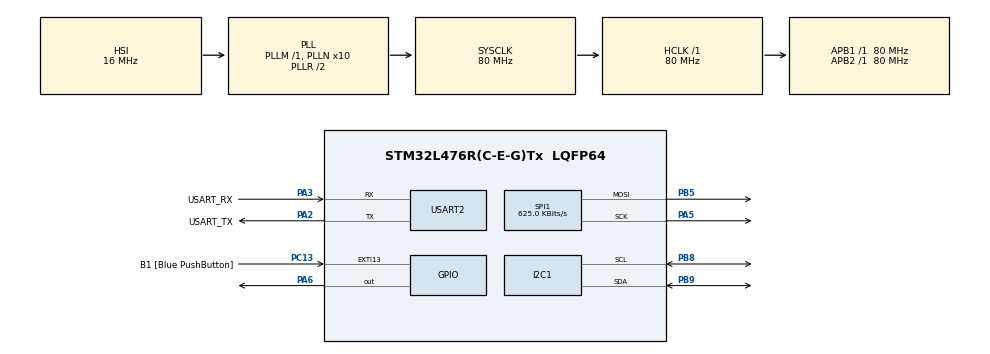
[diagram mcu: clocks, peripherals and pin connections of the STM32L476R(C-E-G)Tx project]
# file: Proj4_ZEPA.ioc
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I2C1.Timing=0x10D19CE4
Mcu.Family=STM32L4
Mcu.Name=STM32L476R(C-E-G)Tx
Mcu.Package=LQFP64
NVIC.I2C1_ER_IRQn=true\:0\:0\:false\:false\:true\:true\:true\:true
NVIC.I2C1_EV_IRQn=true\:0\:0\:false\:false\:true\:true\:true\:true
NVIC.PriorityGroup=NVIC_PRIORITYGROUP_4
NVIC.SPI1_IRQn=true\:0\:0\:false\:false\:true\:true\:true\:true
NVIC.USART2_IRQn=true\:0\:0\:false\:false\:true\:true\:true\:true
PA13\ (JTMS-SWDIO).GPIO_Label=TMS
PA13\ (JTMS-SWDIO).Signal=SYS_JTMS-SWDIO
PA14\ (JTCK-SWCLK).GPIO_Label=TCK
PA14\ (JTCK-SWCLK).Signal=SYS_JTCK-SWCLK
PA2.GPIO_Label=USART_TX
PA2.GPIO_Mode=GPIO_MODE_AF_PP
PA2.GPIO_PuPd=GPIO_NOPULL
PA2.GPIO_Speed=GPIO_SPEED_FREQ_VERY_HIGH
PA2.Mode=Asynchronous
PA2.Signal=USART2_TX
PA3.GPIO_Label=USART_RX
PA3.GPIO_Mode=GPIO_MODE_AF_PP
PA3.GPIO_PuPd=GPIO_NOPULL
PA3.GPIO_Speed=GPIO_SPEED_FREQ_VERY_HIGH
PA3.Mode=Asynchronous
PA3.Signal=USART2_RX
PA5.Mode=TX_Only_Simplex_Unidirect_Master
PA5.Signal=SPI1_SCK
PA6.PinState=GPIO_PIN_SET
PA6.Signal=GPIO_Output
PB3\ (JTDO-TRACESWO).GPIO_Label=SWO
PB3\ (JTDO-TRACESWO).Signal=SYS_JTDO-SWO
PB5.Mode=TX_Only_Simplex_Unidirect_Master
PB5.Signal=SPI1_MOSI
PB8.Mode=I2C
PB8.Signal=I2C1_SCL
PB9.Mode=I2C
PB9.Signal=I2C1_SDA
PC13.GPIO_Label=B1 [Blue PushButton]
PC13.GPIO_ModeDefaultEXTI=GPIO_MODE_IT_FALLING
PC13.GPIO_PuPd=GPIO_NOPULL
PC13.Signal=GPXTI13
PC14-OSC32_IN\ (PC14).Signal=RCC_OSC32_IN
PC15-OSC32_OUT\ (PC15).Signal=RCC_OSC32_OUT
PH0-OSC_IN\ (PH0).Signal=RCC_OSC_IN
PH1-OSC_OUT\ (PH1).Signal=RCC_OSC_OUT
ProjectManager.HeapSize=0x200
ProjectManager.StackSize=0x400
ProjectManager.TargetToolchain=STM32CubeIDE
RCC.ADCFreq_Value=64000000
RCC.AHBFreq_Value=80000000
RCC.APB1Freq_Value=80000000
RCC.APB1TimFreq_Value=80000000
RCC.APB2Freq_Value=80000000
RCC.APB2TimFreq_Value=80000000
RCC.CortexFreq_Value=80000000
RCC.HCLKFreq_Value=80000000
RCC.HSE_VALUE=8000000
RCC.HSI_VALUE=16000000
RCC.LSE_VALUE=32768
RCC.MSI_VALUE=4000000
RCC.PLLN=10
RCC.PLLSourceVirtual=RCC_PLLSOURCE_HSI
RCC.PREFETCH_ENABLE=1
RCC.SYSCLKFreq_VALUE=80000000
RCC.SYSCLKSource=RCC_SYSCLKSOURCE_PLLCLK
RCC.USBFreq_Value=64000000
RCC.VCOOutputFreq_Value=160000000
SPI1.BaudRatePrescaler=SPI_BAUDRATEPRESCALER_128
SPI1.CalculateBaudRate=625.0 KBits/s
SPI1.DataSize=SPI_DATASIZE_8BIT
SPI1.Direction=SPI_DIRECTION_2LINES
SPI1.Mode=SPI_MODE_MASTER
SPI1.VirtualType=VM_MASTER
USART2.VirtualMode-Asynchronous=VM_ASYNC
board=NUCLEO-L476RG

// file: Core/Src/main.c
/* USER CODE BEGIN Header */
/**
  ******************************************************************************
  * @file           : main.c
  * @brief          : Main program body
  ******************************************************************************
  * @attention
  *
  * Copyright (c) 2026 STMicroelectronics.
  * All rights reserved.
  *
  * This software is licensed under terms that can be found in the LICENSE file
  * in the root directory of this software component.
  * If no LICENSE file comes with this software, it is provided AS-IS.
  *
  ******************************************************************************
  */
/* USER CODE END Header */
#include "main.h"

/* USER CODE BEGIN Includes */
#include <stdio.h>
#include <stdlib.h>
#include <string.h>
/* USER CODE END Includes */

/* USER CODE BEGIN PD */
#define PCF8591_ADDR (0x48U << 1)
#define UART_LINE_MAX 32U
#define SPI_FRAME_MAX 13U
/* USER CODE END PD */

I2C_HandleTypeDef hi2c1;

SPI_HandleTypeDef hspi1;

UART_HandleTypeDef huart2;

/* USER CODE BEGIN PV */
static uint8_t uart_rx_byte;
static char uart_line[UART_LINE_MAX];
static uint8_t uart_line_len;
static volatile uint8_t uart_line_ready;

typedef enum { I2C_IDLE, I2C_READ_CONTROL, I2C_READ_DATA, I2C_WRITE_DAC } I2C_Operation;
static volatile I2C_Operation i2c_operation = I2C_IDLE;
static uint8_t i2c_tx[2];
static uint8_t i2c_rx[2];
static uint8_t i2c_channel;
static uint8_t dac_value;
static uint8_t dac_enabled;
static volatile uint8_t adc_ready;
static volatile uint8_t adc_value;
static volatile uint8_t adc_channel;
static volatile uint8_t dac_ready;
static volatile uint8_t i2c_error;

static uint8_t spi_frames[SPI_FRAME_MAX][2];
static uint8_t spi_count;
static uint8_t spi_pos;
static volatile uint8_t spi_active;
static volatile uint8_t spi_error;
static char wanted_glyph;
static char sent_glyph;
static char sensor_glyph;
static char sign_glyph;
static uint8_t show_sign;
static uint32_t next_switch_ms;
/* USER CODE END PV */

void SystemClock_Config(void);
static void MX_GPIO_Init(void);
static void MX_I2C1_Init(void);
static void MX_SPI1_Init(void);
static void MX_USART2_UART_Init(void);
/* USER CODE BEGIN PFP */
static void App_Task(void);
static void App_Reply(const char *text);
static void App_ProcessCommand(const char *command);
static void App_StartRead(uint8_t channel);
static void App_StartDAC(uint8_t value);
static void Matrix_Init(void);
static void Matrix_Request(char glyph);
static void Matrix_Kick(void);
static void SPI_StartSequence(void);
static void SPI_StartFrame(void);
/* USER CODE END PFP */

/* USER CODE BEGIN 0 */
/* Padroes de 8 linhas. O bit 7 e o LED mais a esquerda. */
static const uint8_t glyph_T[8]     = {0x7E,0x18,0x18,0x18,0x18,0x18,0x18,0x00};
static const uint8_t glyph_V[8]     = {0x66,0x66,0x66,0x66,0x66,0x3C,0x18,0x00};
static const uint8_t glyph_L[8]     = {0x60,0x60,0x60,0x60,0x60,0x60,0x7E,0x00};
static const uint8_t glyph_plus[8]  = {0x00,0x18,0x18,0x7E,0x18,0x18,0x00,0x00};
static const uint8_t glyph_minus[8] = {0x00,0x00,0x00,0x7E,0x00,0x00,0x00,0x00};

static const uint8_t *Matrix_Pattern(char glyph)
{
  switch (glyph) {
    case 'T': return glyph_T;
    case 'V': return glyph_V;
    case 'L': return glyph_L;
    case '+': return glyph_plus;
    case '-': return glyph_minus;
    default:  return NULL;
  }
}

static void App_Reply(const char *text)
{
  HAL_UART_Transmit(&huart2, (uint8_t *)text, (uint16_t)strlen(text), 100);
}

static void SPI_StartFrame(void)
{
  HAL_GPIO_WritePin(GPIOA, GPIO_PIN_6, GPIO_PIN_RESET);
  if (HAL_SPI_Transmit_IT(&hspi1, spi_frames[spi_pos], 2) != HAL_OK) {
    HAL_GPIO_WritePin(GPIOA, GPIO_PIN_6, GPIO_PIN_SET);
    spi_active = 0;
    spi_error = 1;
  }
}

static void SPI_StartSequence(void)
{
  spi_pos = 0;
  spi_active = 1;
  SPI_StartFrame();
}

static void Matrix_Init(void)
{
  spi_count = 0;
  spi_frames[spi_count][0] = 0x0F; spi_frames[spi_count++][1] = 0x00; /* teste off */
  spi_frames[spi_count][0] = 0x09; spi_frames[spi_count++][1] = 0x00; /* sem decode */
  spi_frames[spi_count][0] = 0x0B; spi_frames[spi_count++][1] = 0x07; /* 8 linhas */
  spi_frames[spi_count][0] = 0x0A; spi_frames[spi_count++][1] = 0x08; /* brilho */
  for (uint8_t row = 0; row < 8; row++) {
    spi_frames[spi_count][0] = (uint8_t)(row + 1U);
    spi_frames[spi_count++][1] = 0x00;
  }
  spi_frames[spi_count][0] = 0x0C; spi_frames[spi_count++][1] = 0x01; /* liga */
  SPI_StartSequence();
}

static void Matrix_Request(char glyph)
{
  wanted_glyph = glyph;
}

static void Matrix_Kick(void)
{
  if (spi_active || wanted_glyph == 0 || wanted_glyph == sent_glyph) return;
  const uint8_t *pattern = Matrix_Pattern(wanted_glyph);
  if (pattern == NULL) return;

  spi_count = 8;
  for (uint8_t row = 0; row < 8; row++) {
    spi_frames[row][0] = (uint8_t)(row + 1U);
    spi_frames[row][1] = pattern[row];
  }
  SPI_StartSequence();
  if (spi_active) sent_glyph = wanted_glyph;
}

static void App_StartRead(uint8_t channel)
{
  if (i2c_operation != I2C_IDLE) {
    App_Reply("I2C ocupado\r\n");
    return;
  }
  i2c_channel = channel;
  /* Mantem o DAC ativo se Set_DAC ja foi usado. */
  i2c_tx[0] = (uint8_t)((dac_enabled ? 0x40U : 0x00U) | channel);
  i2c_operation = I2C_READ_CONTROL;
  if (HAL_I2C_Master_Transmit_IT(&hi2c1, PCF8591_ADDR, i2c_tx, 1) != HAL_OK) {
    i2c_operation = I2C_IDLE;
    App_Reply("Falha ao iniciar leitura I2C\r\n");
  }
}

static void App_StartDAC(uint8_t value)
{
  if (i2c_operation != I2C_IDLE) {
    App_Reply("I2C ocupado\r\n");
    return;
  }
  dac_value = value;
  i2c_tx[0] = 0x40; /* habilita saida analogica */
  i2c_tx[1] = value;
  i2c_operation = I2C_WRITE_DAC;
  if (HAL_I2C_Master_Transmit_IT(&hi2c1, PCF8591_ADDR, i2c_tx, 2) != HAL_OK) {
    i2c_operation = I2C_IDLE;
    App_Reply("Falha ao iniciar escrita I2C\r\n");
  }
}

static void App_ProcessCommand(const char *command)
{
  if (strcmp(command, "Read_AIN0") == 0 || strcmp(command, "LDR") == 0) {
    App_StartRead(0);
  } else if (strcmp(command, "Read_AIN1") == 0 || strcmp(command, "Temp") == 0) {
    App_StartRead(1);
  } else if (strcmp(command, "Read_AIN3") == 0 || strcmp(command, "Volt") == 0) {
    App_StartRead(3);
  } else if (strncmp(command, "Set_DAC_", 8) == 0) {
    char *end;
    long value = strtol(command + 8, &end, 10);
    if (end == command + 8 || *end != '\0' || value < 0 || value > 255) {
      App_Reply("Use Set_DAC_0 a Set_DAC_255\r\n");
    } else {
      App_StartDAC((uint8_t)value);
    }
  } else {
    App_Reply("Comandos: LDR, Temp, Volt, Read_AIN0/1/3, Set_DAC_0..255\r\n");
  }
}

static void App_Task(void)
{
  char command[UART_LINE_MAX];
  if (uart_line_ready) {
    __disable_irq();
    strcpy(command, uart_line);
    uart_line_len = 0;
    uart_line_ready = 0;
    __enable_irq();
    App_ProcessCommand(command);
  }

  if (adc_ready) {
    uint8_t channel, value;
    __disable_irq();
    channel = adc_channel;
    value = adc_value;
    adc_ready = 0;
    __enable_irq();

    sensor_glyph = (channel == 0) ? 'L' : (channel == 1) ? 'T' : 'V';
    sign_glyph = (value < 128U) ? '-' : '+';
    show_sign = 0;
    next_switch_ms = HAL_GetTick() + 500U;
    Matrix_Request(sensor_glyph);

    char response[48];
    snprintf(response, sizeof(response), "AIN%u = %u / 255\r\n",
             (unsigned)channel, (unsigned)value);
    App_Reply(response);
  }

  if (dac_ready) {
    dac_ready = 0;
    char response[48];
    snprintf(response, sizeof(response), "DAC = %u / 255\r\n",
             (unsigned)dac_value);
    App_Reply(response);
  }
  if (i2c_error) {
    i2c_error = 0;
    App_Reply("Erro I2C: confira endereco, SDA, SCL e GND\r\n");
  }
  if (spi_error) {
    spi_error = 0;
    App_Reply("Erro SPI\r\n");
  }

  if (sensor_glyph != 0 &&
      (int32_t)(HAL_GetTick() - next_switch_ms) >= 0) {
    next_switch_ms += 500U;
    show_sign ^= 1U;
    Matrix_Request(show_sign ? sign_glyph : sensor_glyph);
  }
  Matrix_Kick();
}

void HAL_UART_RxCpltCallback(UART_HandleTypeDef *huart)
{
  if (huart->Instance != USART2) return;
  if (!uart_line_ready) {
    if (uart_rx_byte == '\r' || uart_rx_byte == '\n') {
      if (uart_line_len > 0) {
        uart_line[uart_line_len] = '\0';
        uart_line_ready = 1;
      }
    } else if (uart_line_len < UART_LINE_MAX - 1U) {
      uart_line[uart_line_len++] = (char)uart_rx_byte;
    } else {
      uart_line_len = 0; /* descarta linha longa */
    }
  }
  HAL_UART_Receive_IT(&huart2, &uart_rx_byte, 1);
}

void HAL_UART_ErrorCallback(UART_HandleTypeDef *huart)
{
  if (huart->Instance == USART2) {
    HAL_UART_Receive_IT(&huart2, &uart_rx_byte, 1);
  }
}

void HAL_I2C_MasterTxCpltCallback(I2C_HandleTypeDef *hi2c)
{
  if (hi2c->Instance != I2C1) return;
  if (i2c_operation == I2C_READ_CONTROL) {
    i2c_operation = I2C_READ_DATA;
    /* O primeiro byte e da conversao anterior; o segundo e o atual. */
    if (HAL_I2C_Master_Receive_IT(&hi2c1, PCF8591_ADDR, i2c_rx, 2) != HAL_OK) {
      i2c_operation = I2C_IDLE;
      i2c_error = 1;
    }
  } else if (i2c_operation == I2C_WRITE_DAC) {
    dac_enabled = 1;
    i2c_operation = I2C_IDLE;
    dac_ready = 1;
  }
}

void HAL_I2C_MasterRxCpltCallback(I2C_HandleTypeDef *hi2c)
{
  if (hi2c->Instance != I2C1 || i2c_operation != I2C_READ_DATA) return;
  adc_channel = i2c_channel;
  adc_value = i2c_rx[1];
  i2c_operation = I2C_IDLE;
  adc_ready = 1;
}

void HAL_I2C_ErrorCallback(I2C_HandleTypeDef *hi2c)
{
  if (hi2c->Instance == I2C1) {
    i2c_operation = I2C_IDLE;
    i2c_error = 1;
  }
}

void HAL_SPI_TxCpltCallback(SPI_HandleTypeDef *hspi)
{
  if (hspi->Instance != SPI1) return;
  HAL_GPIO_WritePin(GPIOA, GPIO_PIN_6, GPIO_PIN_SET);
  spi_pos++;
  if (spi_pos < spi_count) {
    SPI_StartFrame();
  } else {
    spi_active = 0;
  }
}

void HAL_SPI_ErrorCallback(SPI_HandleTypeDef *hspi)
{
  if (hspi->Instance == SPI1) {
    HAL_GPIO_WritePin(GPIOA, GPIO_PIN_6, GPIO_PIN_SET);
    spi_active = 0;
    spi_error = 1;
  }
}
/* USER CODE END 0 */

int main(void)
{

  /* MCU Configuration--------------------------------------------------------*/

  /* Reset of all peripherals, Initializes the Flash interface and the Systick. */
  HAL_Init();

  /* Configure the system clock */
  SystemClock_Config();

  /* Initialize all configured peripherals */
  MX_GPIO_Init();
  MX_I2C1_Init();
  MX_SPI1_Init();
  MX_USART2_UART_Init();
  /* USER CODE BEGIN 2 */
/* Inicia recepcao do terminal e configura a matriz por SPI com interrupcao. */
if (HAL_UART_Receive_IT(&huart2, &uart_rx_byte, 1) != HAL_OK) Error_Handler();
HAL_GPIO_WritePin(GPIOA, GPIO_PIN_6, GPIO_PIN_SET);
Matrix_Init();
App_Reply("Pronto: LDR, Temp, Volt, Read_AIN0/1/3, Set_DAC_0..255\r\n");
/* USER CODE END 2 */

  /* Infinite loop */
  while (1)
  {

    /* USER CODE BEGIN 3 */
    App_Task();
  }
  /* USER CODE END 3 */
}

void SystemClock_Config(void)
{
  RCC_OscInitTypeDef RCC_OscInitStruct = {0};
  RCC_ClkInitTypeDef RCC_ClkInitStruct = {0};

  /** Configure the main internal regulator output voltage
  */
  if (HAL_PWREx_ControlVoltageScaling(PWR_REGULATOR_VOLTAGE_SCALE1) != HAL_OK)
  {
    Error_Handler();
  }

  /** Initializes the RCC Oscillators according to the specified parameters
  * in the RCC_OscInitTypeDef structure.
  */
  RCC_OscInitStruct.OscillatorType = RCC_OSCILLATORTYPE_HSI;
  RCC_OscInitStruct.HSIState = RCC_HSI_ON;
  RCC_OscInitStruct.HSICalibrationValue = RCC_HSICALIBRATION_DEFAULT;
  RCC_OscInitStruct.PLL.PLLState = RCC_PLL_ON;
  RCC_OscInitStruct.PLL.PLLSource = RCC_PLLSOURCE_HSI;
  RCC_OscInitStruct.PLL.PLLM = 1;
  RCC_OscInitStruct.PLL.PLLN = 10;
  RCC_OscInitStruct.PLL.PLLP = RCC_PLLP_DIV7;
  RCC_OscInitStruct.PLL.PLLQ = RCC_PLLQ_DIV2;
  RCC_OscInitStruct.PLL.PLLR = RCC_PLLR_DIV2;
  if (HAL_RCC_OscConfig(&RCC_OscInitStruct) != HAL_OK)
  {
    Error_Handler();
  }

  /** Initializes the CPU, AHB and APB buses clocks
  */
  RCC_ClkInitStruct.ClockType = RCC_CLOCKTYPE_HCLK|RCC_CLOCKTYPE_SYSCLK
                              |RCC_CLOCKTYPE_PCLK1|RCC_CLOCKTYPE_PCLK2;
  RCC_ClkInitStruct.SYSCLKSource = RCC_SYSCLKSOURCE_PLLCLK;
  RCC_ClkInitStruct.AHBCLKDivider = RCC_SYSCLK_DIV1;
  RCC_ClkInitStruct.APB1CLKDivider = RCC_HCLK_DIV1;
  RCC_ClkInitStruct.APB2CLKDivider = RCC_HCLK_DIV1;

  if (HAL_RCC_ClockConfig(&RCC_ClkInitStruct, FLASH_LATENCY_4) != HAL_OK)
  {
    Error_Handler();
  }
}

static void MX_I2C1_Init(void)
{

  hi2c1.Instance = I2C1;
  hi2c1.Init.Timing = 0x10D19CE4;
  hi2c1.Init.OwnAddress1 = 0;
  hi2c1.Init.AddressingMode = I2C_ADDRESSINGMODE_7BIT;
  hi2c1.Init.DualAddressMode = I2C_DUALADDRESS_DISABLE;
  hi2c1.Init.OwnAddress2 = 0;
  hi2c1.Init.OwnAddress2Masks = I2C_OA2_NOMASK;
  hi2c1.Init.GeneralCallMode = I2C_GENERALCALL_DISABLE;
  hi2c1.Init.NoStretchMode = I2C_NOSTRETCH_DISABLE;
  if (HAL_I2C_Init(&hi2c1) != HAL_OK)
  {
    Error_Handler();
  }

  /** Configure Analogue filter
  */
  if (HAL_I2CEx_ConfigAnalogFilter(&hi2c1, I2C_ANALOGFILTER_ENABLE) != HAL_OK)
  {
    Error_Handler();
  }

  /** Configure Digital filter
  */
  if (HAL_I2CEx_ConfigDigitalFilter(&hi2c1, 0) != HAL_OK)
  {
    Error_Handler();
  }

}

static void MX_SPI1_Init(void)
{

  /* SPI1 parameter configuration*/
  hspi1.Instance = SPI1;
  hspi1.Init.Mode = SPI_MODE_MASTER;
  hspi1.Init.Direction = SPI_DIRECTION_2LINES;
  hspi1.Init.DataSize = SPI_DATASIZE_8BIT;
  hspi1.Init.CLKPolarity = SPI_POLARITY_LOW;
  hspi1.Init.CLKPhase = SPI_PHASE_1EDGE;
  hspi1.Init.NSS = SPI_NSS_SOFT;
  hspi1.Init.BaudRatePrescaler = SPI_BAUDRATEPRESCALER_128;
  hspi1.Init.FirstBit = SPI_FIRSTBIT_MSB;
  hspi1.Init.TIMode = SPI_TIMODE_DISABLE;
  hspi1.Init.CRCCalculation = SPI_CRCCALCULATION_DISABLE;
  hspi1.Init.CRCPolynomial = 7;
  hspi1.Init.CRCLength = SPI_CRC_LENGTH_DATASIZE;
  hspi1.Init.NSSPMode = SPI_NSS_PULSE_ENABLE;
  if (HAL_SPI_Init(&hspi1) != HAL_OK)
  {
    Error_Handler();
  }

}

static void MX_USART2_UART_Init(void)
{

  huart2.Instance = USART2;
  huart2.Init.BaudRate = 115200;
  huart2.Init.WordLength = UART_WORDLENGTH_8B;
  huart2.Init.StopBits = UART_STOPBITS_1;
  huart2.Init.Parity = UART_PARITY_NONE;
  huart2.Init.Mode = UART_MODE_TX_RX;
  huart2.Init.HwFlowCtl = UART_HWCONTROL_NONE;
  huart2.Init.OverSampling = UART_OVERSAMPLING_16;
  huart2.Init.OneBitSampling = UART_ONE_BIT_SAMPLE_DISABLE;
  huart2.AdvancedInit.AdvFeatureInit = UART_ADVFEATURE_NO_INIT;
  if (HAL_UART_Init(&huart2) != HAL_OK)
  {
    Error_Handler();
  }

}

static void MX_GPIO_Init(void)
{
  GPIO_InitTypeDef GPIO_InitStruct = {0};

  /* GPIO Ports Clock Enable */
  __HAL_RCC_GPIOC_CLK_ENABLE();
  __HAL_RCC_GPIOH_CLK_ENABLE();
  __HAL_RCC_GPIOA_CLK_ENABLE();
  __HAL_RCC_GPIOB_CLK_ENABLE();

  /*Configure GPIO pin Output Level */
  HAL_GPIO_WritePin(GPIOA, GPIO_PIN_6, GPIO_PIN_SET);

  /*Configure GPIO pin : B1_Pin */
  GPIO_InitStruct.Pin = B1_Pin;
  GPIO_InitStruct.Mode = GPIO_MODE_IT_FALLING;
  GPIO_InitStruct.Pull = GPIO_NOPULL;
  HAL_GPIO_Init(B1_GPIO_Port, &GPIO_InitStruct);

  /*Configure GPIO pin : PA6 */
  GPIO_InitStruct.Pin = GPIO_PIN_6;
  GPIO_InitStruct.Mode = GPIO_MODE_OUTPUT_PP;
  GPIO_InitStruct.Pull = GPIO_NOPULL;
  GPIO_InitStruct.Speed = GPIO_SPEED_FREQ_LOW;
  HAL_GPIO_Init(GPIOA, &GPIO_InitStruct);

}

void Error_Handler(void)
{
  __disable_irq();
  while (1)
  {
  }
}
